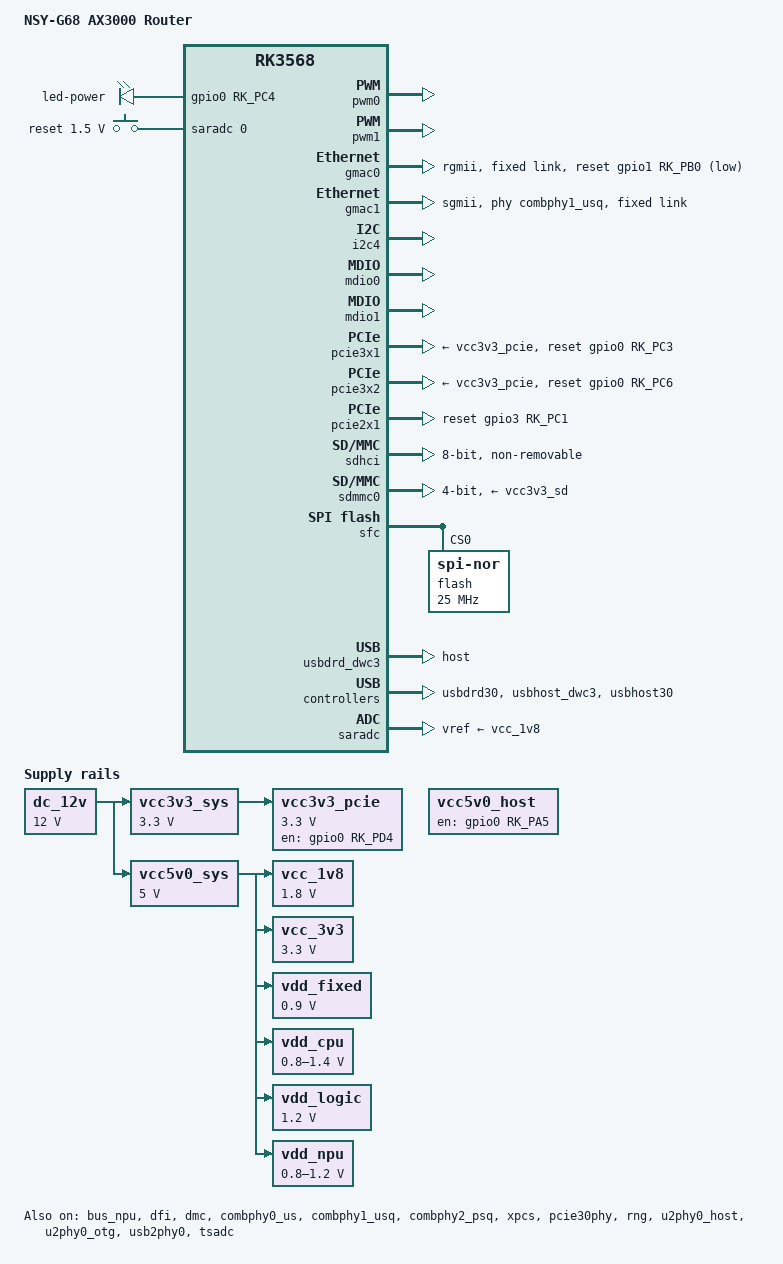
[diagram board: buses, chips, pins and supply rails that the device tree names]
// SPDX-License-Identifier: (GPL-2.0+ OR MIT)
/*
 * Copyright (c) 2020 Rockchip Electronics Co., Ltd.
 *
 */

/dts-v1/;

#include <dt-bindings/gpio/gpio.h>
#include <dt-bindings/pwm/pwm.h>
#include <dt-bindings/pinctrl/rockchip.h>
#include "rk3568.dtsi"

/ {
	model = "NSY-G68 AX3000 Router";
	compatible = "nsy,g68-plus", "rockchip,rk3568";

	aliases {
		mmc0 = &sdhci;
	};

	chosen: chosen {
		bootargs = "earlycon=uart8250,mmio32,0xfe660000 console=ttyFIQ0 root=PARTUUID=614e0000-0000 rw rootwait";
	};

	fiq-debugger {
		compatible = "rockchip,fiq-debugger";
		rockchip,serial-id = <2>;
		rockchip,wake-irq = <0>;
		/* If enable uart uses irq instead of fiq */
		rockchip,irq-mode-enable = <1>;
		rockchip,baudrate = <1500000>;  /* Only 115200 and 1500000 */
		interrupts = <GIC_SPI 252 IRQ_TYPE_LEVEL_LOW>;
		pinctrl-names = "default";
		pinctrl-0 = <&uart2m0_xfer>;
		status = "okay";
	};

	leds {
		compatible = "gpio-leds";
		led-power {
			label = "led-power";
			default-state = "on";
			gpios = <&gpio0 RK_PC4 GPIO_ACTIVE_HIGH>;
			pinctrl-names = "default";
			pinctrl-0 = <&led_power_en>;
		};
	};

	rtlgsw@0 {
		compatible = "realtek,rtl8367b", "realtek,rtl8367s";
		realtek,mdio = <&mdio0>;
		mii-bus = <&mdio0>;
		realtek,id = <29>;
		phy-id = <29>;
		cpu_port = <0x07>;
		realtek,extif1 = <1 0 1 1 1 1 1 1 2>;
		realtek,extif2 = <1 0 1 1 1 1 1 1 2>;
		status = "okay";
	};

	firmware {
		optee: optee {
			compatible = "linaro,optee-tz";
			method = "smc";
		};
	};

	debug: debug@fd904000 {
		compatible = "rockchip,debug";
		reg = <0x0 0xfd904000 0x0 0x1000>,
			<0x0 0xfd905000 0x0 0x1000>,
			<0x0 0xfd906000 0x0 0x1000>,
			<0x0 0xfd907000 0x0 0x1000>;
	};

	cspmu: cspmu@fd90c000 {
		compatible = "rockchip,cspmu";
		reg = <0x0 0xfd90c000 0x0 0x1000>,
			<0x0 0xfd90d000 0x0 0x1000>,
			<0x0 0xfd90e000 0x0 0x1000>,
			<0x0 0xfd90f000 0x0 0x1000>;
	};

	adc_keys: adc-keys {
		compatible = "adc-keys";
		io-channels = <&saradc 0>;
		io-channel-names = "buttons";
		keyup-threshold-microvolt = <1800000>;
		poll-interval = <100>;

		button-reset {
			label = "reset";
			linux,code = <KEY_RESTART>;
			press-threshold-microvolt = <1500000>;
		};
	};

	dc_12v: dc-12v {
		compatible = "regulator-fixed";
		regulator-name = "dc_12v";
		regulator-always-on;
		regulator-boot-on;
		regulator-min-microvolt = <12000000>;
		regulator-max-microvolt = <12000000>;
	};

	reserved-memory {
		#address-cells = <2>;
		#size-cells = <2>;
		ranges;

		rknpu_reserved: rknpu {
			compatible = "shared-dma-pool";
			inactive;
			reusable;
			size = <0x0 0x20000000>;
			alignment = <0x0 0x1000>;
		};
	};

	vcc3v3_sys: vcc3v3-sys {
		compatible = "regulator-fixed";
		regulator-name = "vcc3v3_sys";
		regulator-always-on;
		regulator-boot-on;
		regulator-min-microvolt = <3300000>;
		regulator-max-microvolt = <3300000>;
		vin-supply = <&dc_12v>;
	};

	vcc5v0_sys: vcc5v0-sys {
		compatible = "regulator-fixed";
		regulator-name = "vcc5v0_sys";
		regulator-always-on;
		regulator-boot-on;
		regulator-min-microvolt = <5000000>;
		regulator-max-microvolt = <5000000>;
		vin-supply = <&dc_12v>;
	};

	vcc5v0_host: vcc5v0-host-regulator {
		compatible = "regulator-fixed";
		enable-active-high;
		gpio = <&gpio0 RK_PA5 GPIO_ACTIVE_HIGH>;
		pinctrl-names = "default";
		pinctrl-0 = <&vcc5v0_host_en>;
		regulator-name = "vcc5v0_host";
		regulator-always-on;
	};

	vcc_1v8: vcc_1v8 {
		compatible = "regulator-fixed";
		regulator-name = "vcc_1v8";
		regulator-always-on;
		regulator-boot-on;
		regulator-min-microvolt = <1800000>;
		regulator-max-microvolt = <1800000>;
		vin-supply = <&vcc5v0_sys>;
	};

	vcc_3v3: vcc_3v3{
		compatible = "regulator-fixed";
		regulator-name = "vcc_3v3";
		regulator-always-on;
		regulator-boot-on;
		regulator-min-microvolt = <3300000>;
		regulator-max-microvolt = <3300000>;
		vin-supply = <&vcc5v0_sys>;
	};

	vcc3v3_pcie: vcc3v3-pcie {
		compatible = "regulator-fixed";
		regulator-name = "vcc3v3_pcie";
		enable-active-high;
		gpios = <&gpio0 RK_PD4 GPIO_ACTIVE_HIGH>;
		regulator-min-microvolt = <3300000>;
		regulator-max-microvolt = <3300000>;
		vin-supply = <&vcc3v3_sys>;
	};

	vccio_sd: LDO_REG5 {
		regulator-always-on;
		regulator-boot-on;
		regulator-min-microvolt = <1800000>;
		regulator-max-microvolt = <3300000>;
		regulator-name = "vccio_sd";
		regulator-state-mem {
			regulator-off-in-suspend;
		};
	};

	vcc3v3_sd: SWITCH_REG2 {
		regulator-always-on;
			regulator-boot-on;
			regulator-name = "vcc3v3_sd";
			regulator-state-mem {
				regulator-off-in-suspend;
			};
	};

	vdd_fixed: vdd-fixed {
		compatible = "regulator-fixed";
		regulator-name = "vdd_fixed";
		regulator-min-microvolt = <900000>;
		regulator-max-microvolt = <900000>;
		regulator-always-on;
		regulator-boot-on;
		vin-supply = <&vcc5v0_sys>;
	};

	vdd_cpu: vdd-cpu {
		compatible = "pwm-regulator";
		pwms = <&pwm0 0 25000 1>;
		regulator-name = "vdd_cpu";
		regulator-min-microvolt = <800000>;
		regulator-max-microvolt = <1400000>;
		regulator-init-microvolt = <1150000>;
		regulator-enable-ramp-delay = <300>;
		regulator-ramp-delay = <8000>;
		regulator-always-on;
		regulator-boot-on;
		regulator-settling-time-up-us = <250>;
		pwm-supply = <&vcc5v0_sys>;
		status = "okay";
	};

	vdd_logic: vdd-logic {
		compatible = "pwm-regulator";
		pwms = <&pwm1 0 5000 1>;
		regulator-name = "vdd_logic";
		regulator-min-microvolt = <1200000>;
		regulator-max-microvolt = <1200000>;
		regulator-init-microvolt = <900000>;
		regulator-always-on;
		regulator-boot-on;
		regulator-settling-time-up-us = <250>;
		pwm-supply = <&vcc5v0_sys>;
		status = "okay";
	};

	vdd_npu: vdd-npu {
		compatible = "pwm-regulator";
		pwms = <&pwm2 0 5000 1>;
		regulator-name = "vdd_npu";
		regulator-min-microvolt = <800000>;
		regulator-max-microvolt = <1200000>;
		regulator-init-microvolt = <950000>;
		regulator-always-on;
		regulator-boot-on;
		regulator-settling-time-up-us = <250>;
		pwm-supply = <&vcc5v0_sys>;
		status = "okay";
	};
};

&bus_npu {
	bus-supply = <&vdd_logic>;
	pvtm-supply = <&vdd_cpu>;
	status = "okay";
};

&cpu0 {
	cpu-supply = <&vdd_cpu>;
};

&CPU_SLEEP {
	status = "disabled";
};

&dfi {
	status = "okay";
};

&dmc {
	center-supply = <&vdd_logic>;
	status = "okay";
};

&combphy0_us {
	status = "okay";
};

&combphy1_usq {
	rockchip,sgmii-mac-sel = <1>;
	status = "okay";
};

&combphy2_psq {
	status = "okay";
};

&pwm0 {
	status = "okay";
	pinctrl-names = "active";
};

&pwm1 {
	status = "okay";
	pinctrl-names = "active";
};

&csi2_dphy_hw {
	status = "disabled";
};

&csi2_dphy0 {
	status = "disabled";
};

&edp {
	hpd-gpios = <&gpio0 RK_PC2 GPIO_ACTIVE_HIGH>;
	status = "disabled";
};

&edp_phy {
	status = "disabled";
};

&edp_in_vp0 {
	status = "disabled";
};

&edp_in_vp1 {
	status = "disabled";
};

&gmac0 {
	status = "okay";
	phy-mode = "rgmii";
	clock_in_out = "output";

	snps,reset-gpio = <&gpio1 RK_PB0 GPIO_ACTIVE_LOW>;
	snps,reset-active-low;
	/* Reset time is 20ms, 100ms for rtl8211f */
	snps,reset-delays-us = <0 20000 100000>;

	assigned-clocks = <&cru SCLK_GMAC0_RX_TX>, <&cru SCLK_GMAC0>;
	assigned-clock-parents = <&cru SCLK_GMAC0_RGMII_SPEED>, <&cru CLK_MAC0_2TOP>;
	assigned-clock-rates = <0>, <125000000>;

	pinctrl-names = "default";
	pinctrl-0 = <&gmac0_miim
		     &gmac0_tx_bus2
		     &gmac0_rx_bus2
		     &gmac0_rgmii_clk
		     &gmac0_rgmii_bus>;

	tx_delay = <0x4f>;
	rx_delay = <0x0f>;

	fixed-link {
		speed = <1000>;
		full-duplex;
		pause;
	};
};

&gmac1 {
     status = "okay";
     phy-mode = "sgmii";
     rockchip,pipegrf = <&pipegrf>;
     rockchip,xpcs = <&xpcs>;
#if 0
     snps,reset-gpio = <&gpio2 RK_PC2 GPIO_ACTIVE_LOW>;
     snps,reset-active-low;
     snps,reset-delays-us = <0 20000 100000>;
#endif
     assigned-clocks = <&cru SCLK_GMAC1_RX_TX>;
     assigned-clock-parents = <&gmac1_xpcsclk>;
     pinctrl-names = "default";
     pinctrl-0 = <&gmac1m1_miim>;
     power-domains = <&power RK3568_PD_PIPE>;
     phys = <&combphy1_usq PHY_TYPE_SGMII>;

	fixed-link {
		speed = <1000>;
		full-duplex;
		pause;
	};
};

&xpcs {
status = "okay";
};

&i2c4 {
	status = "okay";
};

&mdio0 {
	status = "okay";
};

&mdio1 {
	status = "okay";
};

&video_phy0 {
	status = "disabled";
};

&video_phy1 {
	status = "disabled";
};

&pcie30phy {
	status = "okay";
};

&pcie3x1 {
	rockchip,bifurcation;
	reset-gpios = <&gpio0 RK_PC3 GPIO_ACTIVE_HIGH>;
	vpcie3v3-supply = <&vcc3v3_pcie>;
	status = "okay";

	pcie@10 {
		reg = <0x00100000 0 0 0 0>;
		#address-cells = <3>;
		#size-cells = <2>;
	};
};

&pcie3x2 {
	rockchip,bifurcation;
	reset-gpios = <&gpio0 RK_PC6 GPIO_ACTIVE_HIGH>;
	vpcie3v3-supply = <&vcc3v3_pcie>;
	status = "okay";

	pcie@20 {
		reg = <0x00200000 0 0 0 0>;
		#address-cells = <3>;
		#size-cells = <2>;
	};
};

&pcie2x1 {
	reset-gpios = <&gpio3 RK_PC1 GPIO_ACTIVE_HIGH>;
	//vpcie3v3-supply = <&pcie30_3v3>;
	pinctrl-0 = <&pcie20m1_pins>;
	status = "okay";
};

&pinctrl {
	usb {
		vcc5v0_host_en: vcc5v0-host-en {
			rockchip,pins = <0 RK_PA5 RK_FUNC_GPIO &pcfg_pull_none>;
		};
	};

	rtl83xx_switches {
		rtl8367s_switch0_int: switch0-int {
			rockchip,pins = <1 RK_PB0 RK_FUNC_GPIO &pcfg_pull_none>;
		};
	};

	leds {
		led_power_en: led-power-en {
			rockchip,pins = <0 RK_PC4 RK_FUNC_GPIO &pcfg_pull_none>;
		};
	};
};

&rkisp {
	status = "disabled";
};

&rkisp_mmu {
	status = "disabled";
};

&rkisp_vir0 {
	status = "disabled";
};

&route_dsi0 {
	status = "disabled";
};

&route_edp {
	status = "disabled";
};

#if 0
&reserved_memory {
	linux,cma {
		compatible = "shared-dma-pool";
		inactive;
		reusable;
		reg = <0x0 0x10000000 0x0 0x00800000>;
		linux,cma-default;
	};

	ramoops: ramoops@110000 {
		compatible = "ramoops";
		reg = <0x0 0x110000 0x0 0xf0000>;
		record-size = <0x20000>;
		console-size = <0x80000>;
		ftrace-size = <0x00000>;
		pmsg-size = <0x50000>;
	};

	vendor_storage_rm: vendor-storage-rm@00000000 {
		compatible = "rockchip,vendor-storage-rm";
		reg = <0x0 0x0 0x0 0x0>;
	};
};
#endif

&sdhci {
	bus-width = <8>;
	no-sdio;
	no-sd;
	non-removable;
	max-frequency = <200000000>;
	full-pwr-cycle-in-suspend;
	status = "okay";
};

&sdmmc0 {
	max-frequency = <150000000>;
	no-sdio;
	no-mmc;
	bus-width = <4>;
	cap-mmc-highspeed;
	cap-sd-highspeed;
	disable-wp;
	sd-uhs-sdr104;
	vmmc-supply = <&vcc3v3_sd>;
	vqmmc-supply = <&vccio_sd>;
	pinctrl-names = "default";
	pinctrl-0 = <&sdmmc0_bus4 &sdmmc0_clk &sdmmc0_cmd &sdmmc0_det>;
	status = "okay";
};

&sfc {
	status = "okay";

	flash@0 {
		compatible = "spi-nor";
		reg = <0>;
		spi-max-frequency = <25000000>;
		spi-rx-bus-width = <1>;
		spi-tx-bus-width = <1>;
	};
};

&rng {
	status = "okay";
};

&rockchip_suspend {
	status = "okay";
	rockchip,sleep-mode-config = <
		(0
		| RKPM_SLP_CENTER_OFF
		| RKPM_SLP_HW_PLLS_OFF
		| RKPM_SLP_PMUALIVE_32K
		| RKPM_SLP_PMIC_LP
		| RKPM_SLP_32K_PVTM
		)
	>;
	rockchip,wakeup-config = <
		(0
		| RKPM_PWM0_WKUP_EN
		| RKPM_CPU0_WKUP_EN
		)
	>;
};

&vop {
	status = "disabled";
};

&vdpu_mmu {
	status = "disabled";
};

&rk_rga {
	status = "disabled";
};

&rknpu {
	rknpu-supply = <&vdd_npu>;
	status = "disabled";
};

&vdpu {
	status = "disabled";
};

&jpegd {
	status = "disabled";
};

&jpegd_mmu {
	status = "disabled";
};

&vepu {
	status = "disabled";
};

&iep {
	status = "disabled";
};

&rkvenc {
	status = "disabled";
};

&rkvdec {
	status = "disabled";
};

&u2phy0_host {
	status = "okay";
};

&u2phy0_otg {
	status = "okay";
};

&usb2phy0 {
	status = "okay";
};

&usbdrd_dwc3 {
	dr_mode = "host";
	extcon = <&usb2phy0>;
	status = "okay";
};

&usbdrd30 {
	status = "okay";
};

&usbhost_dwc3 {
	status = "okay";
};

&usbhost30 {
	status = "okay";
};

&tsadc {
	status = "okay";
};

&saradc {
	vref-supply = <&vcc_1v8>;
	status = "okay";
};

&adc_keys {
	status = "okay";
};
